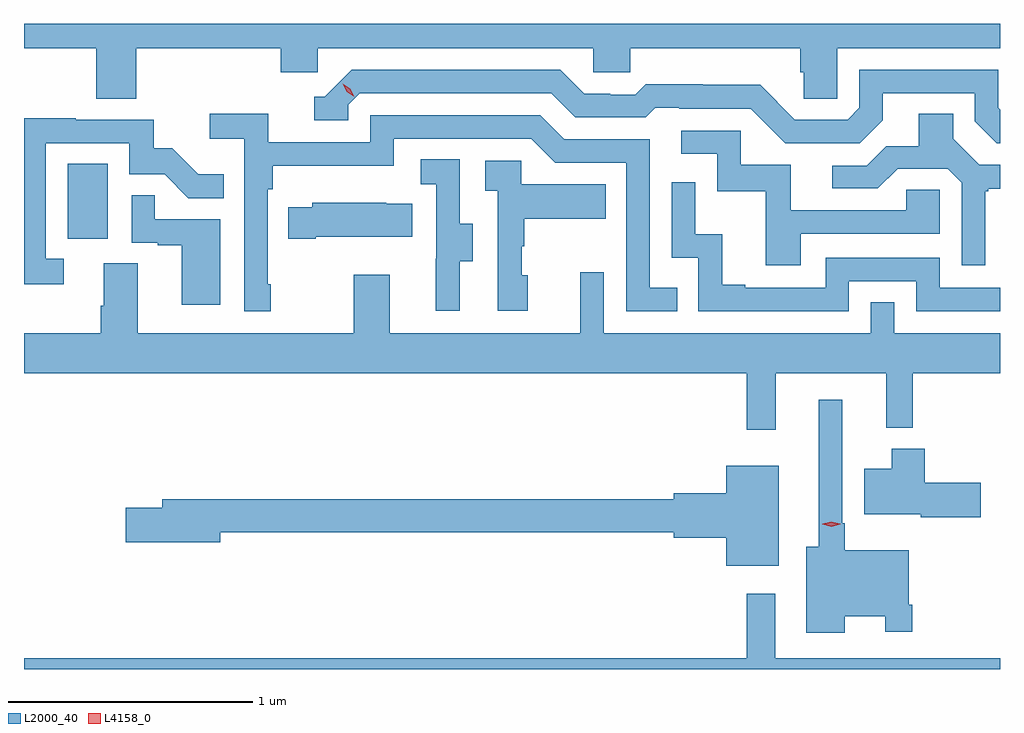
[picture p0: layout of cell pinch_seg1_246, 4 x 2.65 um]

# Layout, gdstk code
import gdstk
lib = gdstk.Library(unit=1e-6, precision=1e-09)
def R(c, l, rs):  # rectangles x0, y0, x1, y1
    for r in rs: c.add(gdstk.rectangle(r[:2], r[2:], *l))
def P(c, l, *ps):  # polygons
    for p in ps: c.add(gdstk.Polygon(p, *l))
L2000_40 = (2000, 40)
L4158_0 = (4158, 0)

pinch_seg1_246 = lib.new_cell('pinch_seg1_246')
R(pinch_seg1_246, L2000_40, [(904.358,582.918,904.522,583.225)])
P(pinch_seg1_246, L2000_40, [(904.64,583.7),(905.231,583.7),(905.231,583.602),(905.382,583.602),(905.382,583.7),(906.513,583.7),(906.513,583.602),(906.663,583.602),(906.663,583.7),(907.361,583.7),(907.361,583.602),(907.375,583.602),(907.375,583.492),(907.512,583.492),(907.512,583.7),(908.179,583.7),(908.179,583.8),(904.179,583.8),(904.179,583.7),(904.475,583.7),(904.475,583.492),(904.64,583.492)],
  [(907.699,583.405),(907.699,583.515),(908.076,583.515),(908.076,583.401),(908.166,583.311),(908.179,583.311),(908.179,583.448),(908.172,583.455),(908.172,583.611),(907.602,583.611),(907.602,583.455),(907.554,583.407),(907.338,583.407),(907.196,583.549),(906.96,583.549),(906.96,583.552),(906.727,583.552),(906.685,583.509),(906.582,583.509),(906.582,583.512),(906.475,583.512),(906.376,583.611),(905.523,583.611),(905.412,583.5),(905.369,583.5),(905.369,583.404),(905.508,583.404),(905.508,583.467),(905.556,583.515),(906.339,583.515),(906.438,583.416),(906.727,583.416),(906.766,583.455),(906.865,583.455),(906.865,583.452),(907.158,583.452),(907.299,583.311),(907.605,583.311)],
  [(908.119,583.113),(908.131,583.113),(908.131,583.124),(908.179,583.124),(908.179,583.221),(908.094,583.221),(907.987,583.328),(907.987,583.43),(907.847,583.43),(907.847,583.298),(907.712,583.298),(907.632,583.218),(907.491,583.218),(907.491,583.125),(907.678,583.125),(907.759,583.206),(907.965,583.206),(908.022,583.149),(908.022,582.81),(908.119,582.81)],
  [(905.191,582.733),(905.178,582.733),(905.178,583.121),(905.198,583.121),(905.198,583.217),(905.694,583.217),(905.694,583.329),(906.258,583.329),(906.357,583.23),(906.648,583.23),(906.648,582.621),(906.857,582.621),(906.857,582.717),(906.744,582.717),(906.744,583.326),(906.394,583.326),(906.295,583.425),(905.598,583.425),(905.598,583.314),(905.18,583.314),(905.18,583.43),(904.941,583.43),(904.941,583.328),(905.082,583.328),(905.082,582.621),(905.191,582.621)],
  [(904.342,582.837),(904.269,582.837),(904.269,583.311),(904.611,583.311),(904.611,583.182),(904.755,583.182),(904.853,583.084),(904.997,583.084),(904.997,583.183),(904.893,583.183),(904.786,583.29),(904.71,583.29),(904.71,583.407),(904.391,583.407),(904.391,583.412),(904.179,583.412),(904.179,582.732),(904.342,582.732)],
  [(907.363,582.939),(907.932,582.939),(907.932,583.119),(907.795,583.119),(907.795,583.035),(907.321,583.035),(907.321,583.221),(907.116,583.221),(907.116,583.362),(906.873,583.362),(906.873,583.266),(907.02,583.266),(907.02,583.113),(907.219,583.113),(907.219,582.81),(907.363,582.81)],
  [(905.965,582.826),(906.019,582.826),(906.019,582.981),(905.964,582.981),(905.964,583.244),(905.805,583.244),(905.805,583.141),(905.868,583.141),(905.868,582.837),(905.867,582.837),(905.867,582.624),(905.965,582.624)],
  [(906.244,582.768),(906.219,582.768),(906.219,582.887),(906.229,582.887),(906.229,583.001),(906.563,583.001),(906.563,583.141),(906.216,583.141),(906.216,583.239),(906.069,583.239),(906.069,583.115),(906.12,583.115),(906.12,582.624),(906.244,582.624)],
  [(907.56,582.744),(907.836,582.744),(907.836,582.621),(908.179,582.621),(908.179,582.717),(907.932,582.717),(907.932,582.84),(907.464,582.84),(907.464,582.717),(907.135,582.717),(907.135,582.73),(907.04,582.73),(907.04,582.938),(906.93,582.938),(906.93,583.15),(906.834,583.15),(906.834,582.84),(906.942,582.84),(906.942,582.621),(907.56,582.621)],
  [(904.984,582.999),(904.715,582.999),(904.715,583.097),(904.62,583.097),(904.62,582.903),(904.727,582.903),(904.727,582.891),(904.826,582.891),(904.826,582.648),(904.984,582.648)],
  [(905.374,582.926),(905.771,582.926),(905.771,583.063),(905.663,583.063),(905.663,583.066),(905.361,583.066),(905.361,583.048),(905.263,583.048),(905.263,582.919),(905.374,582.919)],
  [(907.259,582.368),(907.712,582.368),(907.712,582.143),(907.822,582.143),(907.822,582.368),(908.179,582.368),(908.179,582.532),(907.746,582.532),(907.746,582.659),(907.65,582.659),(907.65,582.532),(906.555,582.532),(906.555,582.781),(906.458,582.781),(906.458,582.532),(905.677,582.532),(905.677,582.772),(905.53,582.772),(905.53,582.532),(904.645,582.532),(904.645,582.818),(904.505,582.818),(904.505,582.644),(904.493,582.644),(904.493,582.532),(904.179,582.532),(904.179,582.368),(907.141,582.368),(907.141,582.135),(907.259,582.135)],
  [(907.543,581.372),(907.709,581.372),(907.709,581.307),(907.819,581.307),(907.819,581.419),(907.806,581.419),(907.806,581.641),(907.543,581.641),(907.543,581.752),(907.533,581.752),(907.533,582.259),(907.436,582.259),(907.436,581.656),(907.385,581.656),(907.385,581.304),(907.543,581.304)],
  [(908.101,581.919),(907.871,581.919),(907.871,582.058),(907.736,582.058),(907.736,581.977),(907.622,581.977),(907.622,581.789),(907.854,581.789),(907.854,581.777),(908.101,581.777)],
  [(907.273,581.989),(907.058,581.989),(907.058,581.876),(906.842,581.876),(906.842,581.852),(904.745,581.852),(904.745,581.816),(904.596,581.816),(904.596,581.674),(904.984,581.674),(904.984,581.716),(906.842,581.716),(906.842,581.693),(907.058,581.693),(907.058,581.579),(907.273,581.579)],
  [(908.179,581.2),(907.257,581.2),(907.257,581.464),(907.141,581.464),(907.141,581.2),(904.179,581.2),(904.179,581.154),(908.179,581.154)])
P(pinch_seg1_246, L4158_0, [(907.488,581.739),(907.452,581.749),(907.451,581.749),(907.452,581.75),(907.488,581.759),(907.524,581.75),(907.524,581.749),(907.524,581.749)],
  [(905.532,583.501),(905.501,583.521),(905.485,583.553),(905.485,583.554),(905.486,583.554),(905.516,583.534),(905.532,583.501),(905.532,583.501)])

lib.write_gds('pinch_seg1_246.gds')
